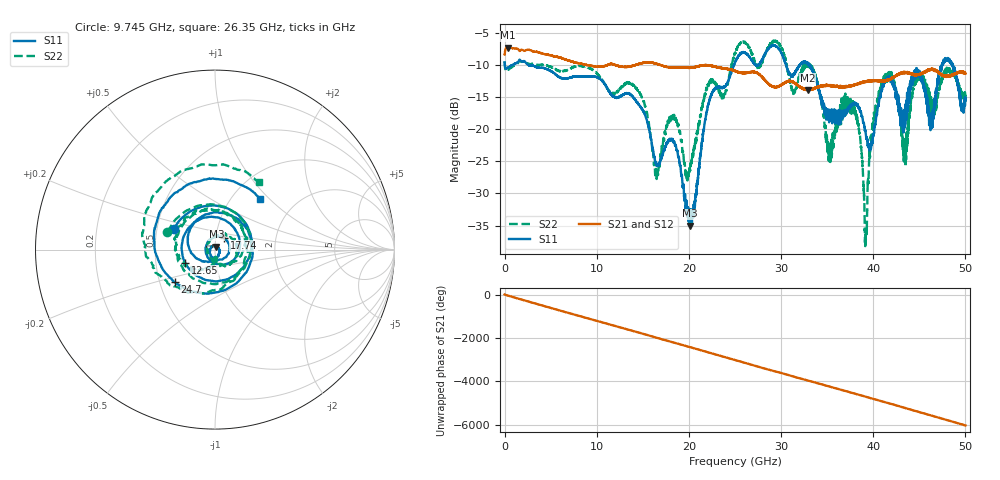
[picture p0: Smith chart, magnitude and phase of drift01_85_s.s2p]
!Created with skrf (http://scikit-rf.org).
# Hz S RI R 50.0
!freq ReS11 ImS11 ReS21 ImS21 ReS12 ImS12 ReS22 ImS22
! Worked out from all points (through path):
!   10001 points, 300 kHz to 50 GHz, reference 50 ohm
!   highest |S21| = -7.33 dB at 325.3 MHz (marker M1); lowest = -14.0 dB at 32.89 GHz (marker M2)
!   group delay of S21, straight-line fit = 335 ps
!   lowest |S11| = -35.0 dB at 20.15 GHz (marker M3), VSWR 1.04, Z = 50.8 + j1.62 ohm
!   |S11| at or under -10 dB: 2.553 GHz to 24.9 GHz (22.35 GHz wide, 163 % of centre); 30.53 GHz to 32.04 GHz (1.503 GHz wide, 4.8 % of centre); 33.05 GHz to 47.45 GHz (14.4 GHz wide, 35.8 % of centre) (the widest 3 of 24)
!   |S22| runs from -38.2 to -6.2 dB; largest |S21 - S12| = 0.011
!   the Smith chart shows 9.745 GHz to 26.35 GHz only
!   S11 on the Smith chart (normalised r, x): 9.745 GHz: 0.61, +0.15; 12.65 GHz: 0.71, -0.11; 17.74 GHz: 1.09, +0.14; 24.7 GHz: 0.60, -0.24; 26.35 GHz: 1.36, +0.89
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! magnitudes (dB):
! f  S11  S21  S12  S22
! 300 kHz  -9.6  -8.4  -8.5  -9.5
! 325.3 MHz  -10.5  -7.3  -7.3  -10.8
! 8.335 GHz  -11.8  -9.8  -9.8  -10.2
! 9.745 GHz  -11.8  -10.2  -10.2  -10.9
! 12.65 GHz  -14.9  -10.3  -10.3  -13.5
! 16.67 GHz  -25.7  -10.0  -9.9  -26.9
! 17.74 GHz  -21.8  -10.4  -10.4  -18.8
! 20.15 GHz  -35.0  -10.5  -10.5  -25.9
! 22.24 GHz  -15.5  -10.1  -10.1  -12.6
! 24.7 GHz  -10.8  -10.8  -10.8  -9.8
! 25 GHz  -9.6  -11.0  -11.0  -8.2
! 26.35 GHz  -8.4  -11.2  -11.2  -6.9
! 32.89 GHz  -9.9  -14.0  -13.8  -9.9
! 33.34 GHz  -10.8  -13.8  -13.7  -10.7
! 35.27 GHz  -17.8  -13.2  -13.2  -23.0
! 37.99 GHz  -15.9  -13.1  -13.2  -17.6
! 39.18 GHz  -20.5  -12.6  -12.6  -37.2
! 40.11 GHz  -20.2  -12.4  -12.4  -17.7
! 41.67 GHz  -11.8  -12.3  -12.3  -11.7
! 43.43 GHz  -18.4  -11.2  -11.2  -25.0
! 44.88 GHz  -11.0  -11.5  -11.5  -12.3
! 50 GHz  -15.4  -11.4  -11.3  -15.1
